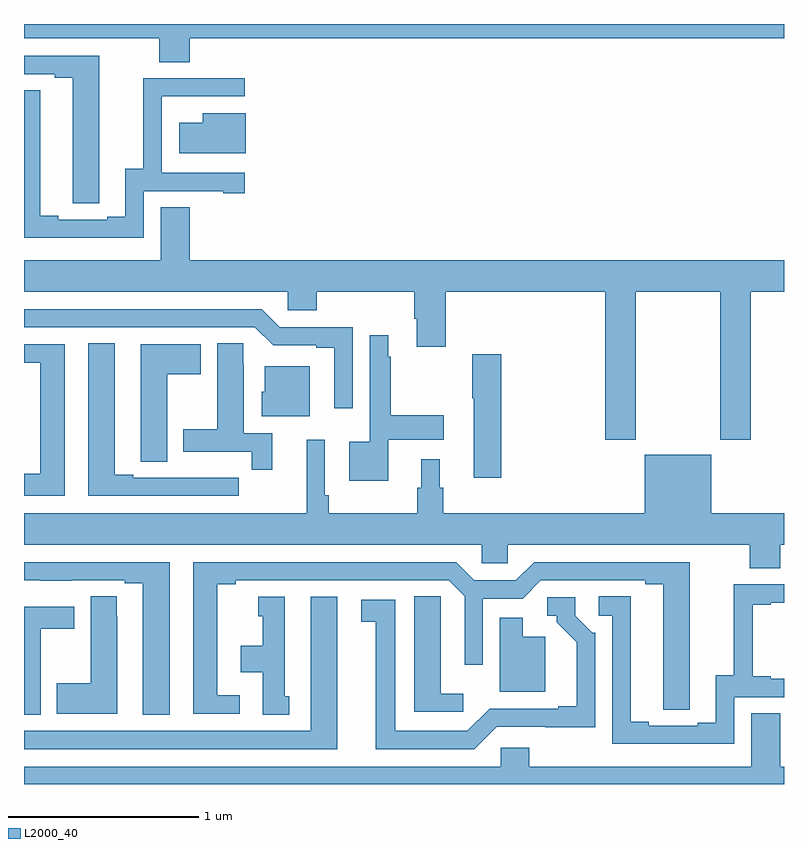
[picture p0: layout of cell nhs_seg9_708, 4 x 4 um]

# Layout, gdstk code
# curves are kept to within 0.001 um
import gdstk
lib = gdstk.Library(unit=1e-6, precision=1e-09)
def P(c, l, *ps):  # polygons
    for p in ps: c.add(gdstk.Polygon(p, *l))
L2000_40 = (2000, 40)

nhs_seg9_708 = lib.new_cell('nhs_seg9_708')
P(nhs_seg9_708, L2000_40, [(147.872,1192.424),(151,1192.424),(151,1192.5),(147,1192.5),(147,1192.424),(147.712,1192.424),(147.712,1192.3),(147.872,1192.3)],
  [(147.396,1191.664),(147.397,1191.664),(147.397,1192.332),(147,1192.332),(147,1192.236),(147.161,1192.236),(147.161,1192.216),(147.257,1192.216),(147.257,1191.556),(147.396,1191.556)],
  [(147.63,1191.621),(148.049,1191.621),(148.049,1191.609),(148.162,1191.609),(148.162,1191.717),(147.726,1191.717),(147.726,1192.118),(147.728,1192.118),(147.728,1192.119),(148.162,1192.119),(148.162,1192.215),(147.628,1192.215),(147.628,1191.737),(147.533,1191.737),(147.533,1191.486),(147.437,1191.486),(147.437,1191.471),(147.181,1191.471),(147.181,1191.491),(147.085,1191.491),(147.085,1192.151),(147,1192.151),(147,1191.375),(147.63,1191.375)],
  [(148.168,1192.03),(147.941,1192.03),(147.941,1191.979),(147.816,1191.979),(147.816,1191.821),(148.168,1191.821)],
  [(150.219,1191.092),(150.664,1191.092),(150.664,1190.313),(150.824,1190.313),(150.824,1191.092),(151,1191.092),(151,1191.256),(147.872,1191.256),(147.872,1191.536),(147.719,1191.536),(147.719,1191.256),(147,1191.256),(147,1191.092),(148.389,1191.092),(148.389,1190.994),(148.541,1190.994),(148.541,1191.092),(149.054,1191.092),(149.054,1190.95),(149.066,1190.95),(149.066,1190.802),(149.219,1190.802),(149.219,1191.092),(150.059,1191.092),(150.059,1190.313),(150.219,1190.313)],
  [(148.731,1190.904),(148.347,1190.904),(148.251,1191),(147,1191),(147,1190.904),(148.215,1190.904),(148.311,1190.808),(148.538,1190.808),(148.538,1190.796),(148.634,1190.796),(148.634,1190.478),(148.731,1190.478)],
  [(148.918,1190.312),(149.209,1190.312),(149.209,1190.442),(148.93,1190.442),(148.93,1190.75),(148.918,1190.75),(148.918,1190.863),(148.821,1190.863),(148.821,1190.302),(148.712,1190.302),(148.712,1190.096),(148.918,1190.096)],
  [(148.129,1190.112),(148.016,1190.112),(148.016,1190.113),(147.85,1190.113),(147.85,1190.112),(147.574,1190.112),(147.574,1190.127),(147.478,1190.127),(147.478,1190.819),(147.338,1190.819),(147.338,1190.016),(148.129,1190.016)],
  [(148.307,1190.346),(148.156,1190.346),(148.156,1190.708),(148.155,1190.708),(148.155,1190.819),(148.016,1190.819),(148.016,1190.367),(147.839,1190.367),(147.839,1190.25),(148.198,1190.25),(148.198,1190.154),(148.307,1190.154)],
  [(147.754,1190.656),(147.931,1190.656),(147.931,1190.815),(147.614,1190.815),(147.614,1190.305),(147.615,1190.305),(147.615,1190.197),(147.754,1190.197)],
  [(147.214,1190.814),(147,1190.814),(147,1190.718),(147.086,1190.718),(147.086,1190.132),(147,1190.132),(147,1190.016),(147.214,1190.016)],
  [(149.513,1190.761),(149.359,1190.761),(149.359,1190.53),(149.366,1190.53),(149.366,1190.112),(149.513,1190.112)],
  [(148.504,1190.698),(148.268,1190.698),(148.268,1190.565),(148.25,1190.565),(148.25,1190.435),(148.504,1190.435)],
  [(150.98,1189.76),(151,1189.76),(151,1189.924),(150.616,1189.924),(150.616,1190.233),(150.266,1190.233),(150.266,1189.924),(149.207,1189.924),(149.207,1190.058),(149.188,1190.058),(149.188,1190.209),(149.09,1190.209),(149.09,1190.058),(149.071,1190.058),(149.071,1189.924),(148.604,1189.924),(148.604,1190.02),(148.584,1190.02),(148.584,1190.311),(148.487,1190.311),(148.487,1189.924),(147,1189.924),(147,1189.76),(149.409,1189.76),(149.409,1189.662),(149.547,1189.662),(149.547,1189.76),(150.82,1189.76),(150.82,1189.636),(150.98,1189.636)],
  [(147.766,1189.668),(147,1189.668),(147,1189.572),(147.088,1189.572),(147.088,1189.571),(147.254,1189.571),(147.254,1189.572),(147.53,1189.572),(147.53,1189.557),(147.626,1189.557),(147.626,1188.865),(147.766,1188.865)],
  [(148.135,1188.966),(148.018,1188.966),(148.018,1189.552),(148.114,1189.552),(148.114,1189.572),(149.235,1189.572),(149.319,1189.488),(149.319,1189.128),(149.415,1189.128),(149.415,1189.476),(149.625,1189.476),(149.721,1189.572),(150.269,1189.572),(150.269,1189.552),(150.365,1189.552),(150.365,1188.892),(150.504,1188.892),(150.505,1189.668),(149.685,1189.668),(149.589,1189.572),(149.371,1189.572),(149.275,1189.668),(147.89,1189.668),(147.89,1188.87),(148.135,1188.87)],
  [(150.738,1188.957),(151,1188.957),(151,1189.053),(150.931,1189.053),(150.931,1189.066),(150.836,1189.066),(150.836,1189.443),(150.931,1189.443),(150.931,1189.455),(151,1189.455),(151,1189.551),(150.736,1189.551),(150.736,1189.073),(150.641,1189.073),(150.641,1188.822),(150.545,1188.822),(150.545,1188.807),(150.289,1188.807),(150.289,1188.827),(150.193,1188.827),(150.193,1189.487),(150.024,1189.487),(150.024,1189.386),(150.096,1189.386),(150.096,1188.711),(150.738,1188.711)],
  [(147.49,1189.379),(147.489,1189.379),(147.489,1189.487),(147.35,1189.487),(147.35,1189.029),(147.173,1189.029),(147.173,1188.869),(147.49,1188.869)],
  [(149.311,1188.976),(149.194,1188.976),(149.194,1189.379),(149.193,1189.379),(149.193,1189.487),(149.054,1189.487),(149.054,1188.879),(149.311,1188.879)],
  [(148.648,1189.486),(148.508,1189.486),(148.508,1188.78),(147,1188.78),(147,1188.684),(148.648,1188.684)],
  [(148.396,1188.963),(148.372,1188.963),(148.372,1189.486),(148.232,1189.486),(148.232,1189.383),(148.256,1189.383),(148.256,1189.228),(148.142,1189.228),(148.142,1189.088),(148.256,1189.088),(148.256,1188.865),(148.396,1188.865)],
  [(149.487,1188.801),(150.006,1188.8),(150.006,1189.296),(149.991,1189.296),(149.901,1189.386),(149.901,1189.482),(149.754,1189.482),(149.754,1189.386),(149.804,1189.386),(149.804,1189.351),(149.909,1189.246),(149.909,1188.91),(149.813,1188.91),(149.813,1188.897),(149.451,1188.897),(149.334,1188.78),(148.954,1188.78),(148.954,1189.47),(148.776,1189.47),(148.776,1189.354),(148.85,1189.354),(148.85,1188.684),(149.37,1188.684)],
  [(147.088,1189.318),(147.265,1189.318),(147.265,1189.434),(147,1189.434),(147,1188.865),(147.088,1188.865)],
  [(149.743,1189.276),(149.626,1189.276),(149.626,1189.375),(149.504,1189.375),(149.504,1188.986),(149.743,1188.986)],
  [(151,1188.592),(150.98,1188.592),(150.98,1188.872),(150.827,1188.872),(150.827,1188.592),(149.66,1188.592),(149.66,1188.69),(149.508,1188.69),(149.508,1188.592),(147,1188.592),(147,1188.5),(151,1188.5)])

lib.write_gds('nhs_seg9_708.gds')
